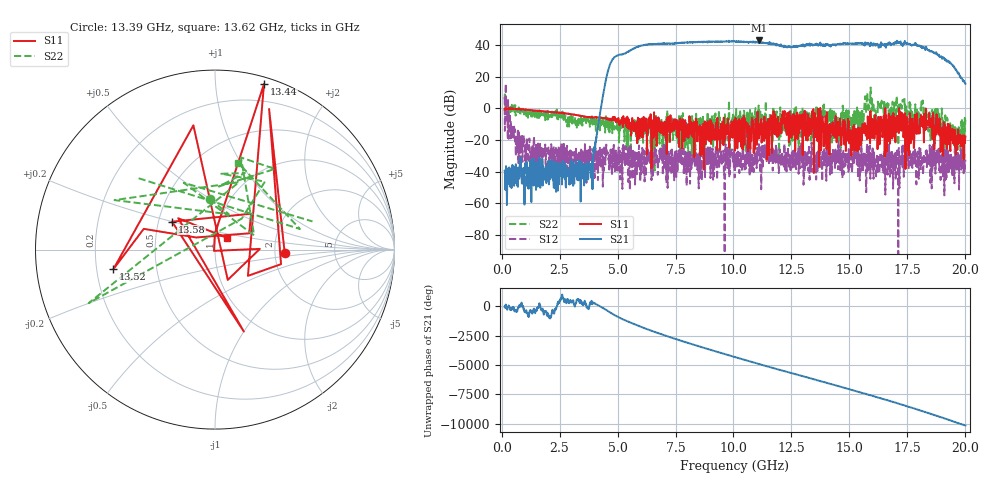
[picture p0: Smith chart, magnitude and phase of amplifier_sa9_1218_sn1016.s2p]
!Created with skrf (http://scikit-rf.org).
# GHz S RI R 50.0
!freq ReS11 ImS11 ReS21 ImS21 ReS12 ImS12 ReS22 ImS22
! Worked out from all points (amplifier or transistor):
!   1601 points, 130 MHz to 20 GHz, reference 50 ohm
!   highest |S21| = 43.0 dB at 11.11 GHz (marker M1)
!   |S21| within 3 dB of that: 6.121 GHz to 11.84 GHz (5.714 GHz wide, 63.6 % of centre)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
!   unconditionally stable (mu >= 1): 826.5 MHz to 4.488 GHz; 19.38 GHz to 19.54 GHz; 19.56 GHz to end of sweep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
!   at 3.433 GHz: K = 343.83, MAG = -34.2 dB, |S12| = -25.1 dB
!   at 10.06 GHz: K = 1.48, MSG = 38.0 dB, |S12| = -33.8 dB
!   at 20 GHz: K = 2.85, MAG = 16.6 dB, |S12| = -32.4 dB
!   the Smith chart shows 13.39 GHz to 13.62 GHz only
!   S11 on the Smith chart (normalised r, x): 13.39 GHz: 2.27, -0.10; 13.44 GHz: 0.06, +1.34; 13.52 GHz: 0.27, -0.09; 13.58 GHz: 0.59, +0.20; 13.62 GHz: 1.14, +0.15
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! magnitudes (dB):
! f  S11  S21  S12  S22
! 130 MHz  -0.7  -39.3  6.9  6.0
! 676.4 MHz  -0.4  -48.6  -19.2  -0.8
! 1.074 GHz  -0.8  -38.4  -23.6  -6.0
! 3.446 GHz  -4.7  -34.3  -35.3  -7.1
! 3.918 GHz  -5.5  -51.0  -43.7  -6.6
! 4.762 GHz  -6.4  30.5  -42.0  -8.7
! 6.762 GHz  -5.6  40.7  -31.5  -11.7
! 10.06 GHz  -26.5  42.3  -33.8  -8.9
! 11.11 GHz  -10.2  43.0  -29.3  -16.6
! 13.38 GHz  -11.4  40.1  -38.8  -18.4
! 13.39 GHz  -8.2  40.5  -39.9  -10.9
! 13.44 GHz  -0.3  40.2  -25.7  -2.3
! 13.52 GHz  -4.8  40.2  -35.9  -5.0
! 13.58 GHz  -10.9  40.2  -27.5  2.0
! 13.62 GHz  -20.6  40.3  -39.6  -6.0
! 15.48 GHz  -14.6  41.0  -29.4  -3.0
! 15.84 GHz  -13.3  40.8  -38.6  0.1
! 16.11 GHz  -4.3  39.9  -33.0  -1.0
! 16.7 GHz  -3.4  40.5  -33.9  -10.7
! 18.8 GHz  -12.0  33.9  -32.1  -0.2
! 19.53 GHz  -14.7  25.7  -47.3  -11.9
! 20 GHz  -17.7  15.7  -32.4  -7.1
